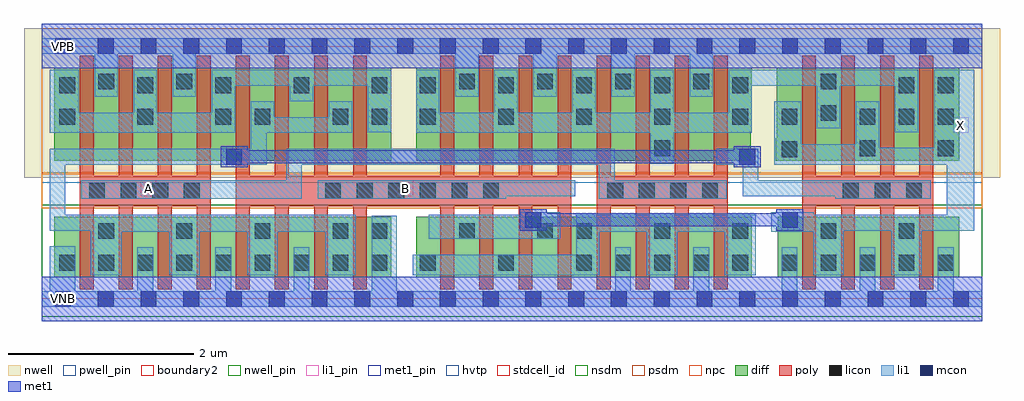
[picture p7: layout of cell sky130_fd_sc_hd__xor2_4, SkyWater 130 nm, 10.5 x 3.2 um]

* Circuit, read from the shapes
.subckt sky130_fd_sc_hd__xor2_4 A B VGND VNB VPB VPWR X
XM1 n1 A VGND VNB sky130_fd_pr__nfet_01v8 w=0.65 l=0.15 m=4
XM2 n1 B VGND VNB sky130_fd_pr__nfet_01v8 w=0.65 l=0.15 m=4
XM3 X B n2 VNB sky130_fd_pr__nfet_01v8 w=0.65 l=0.15 m=4
XM4 VGND A n2 VNB sky130_fd_pr__nfet_01v8 w=0.65 l=0.15 m=4
XM5 X n1 VGND VNB sky130_fd_pr__nfet_01v8 w=0.65 l=0.15 m=4
XM6 VPWR A n3 VPB sky130_fd_pr__pfet_01v8_hvt w=1 l=0.15 m=4
XM7 n1 B n3 VPB sky130_fd_pr__pfet_01v8_hvt w=1 l=0.15 m=4
XM8 VPWR B n4 VPB sky130_fd_pr__pfet_01v8_hvt w=1 l=0.15 m=4
XM9 VPWR A n4 VPB sky130_fd_pr__pfet_01v8_hvt w=1 l=0.15 m=4
XM10 n4 n1 X VPB sky130_fd_pr__pfet_01v8_hvt w=1 l=0.15 m=4
.ends

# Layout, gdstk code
import gdstk
lib = gdstk.Library(unit=1e-6, precision=1e-09)
def R(c, l, rs):  # rectangles x0, y0, x1, y1
    for r in rs: c.add(gdstk.rectangle(r[:2], r[2:], *l))
def A(c, l, x, y, w, h, nx, ny, dx, dy):  # array of equal rectangles
    R(c, l, [(x+i*dx, y+j*dy, x+i*dx+w, y+j*dy+h) for i in range(nx) for j in range(ny)])
def P(c, l, *ps):  # polygons
    for p in ps: c.add(gdstk.Polygon(p, *l))
nwell_pin = (64, 16)
nwell = (64, 20)
diff = (65, 20)
poly = (66, 20)
licon = (66, 44)
li1_pin = (67, 16)
li1 = (67, 20)
mcon = (67, 44)
met1_pin = (68, 16)
met1 = (68, 20)
hvtp = (78, 44)
stdcell_id = (81, 4)
nsdm = (93, 44)
psdm = (94, 20)
npc = (95, 20)
pwell_pin = (122, 16)
boundary2 = (236, 0)

sky130_fd_sc_hd__xor2_4 = lib.new_cell('sky130_fd_sc_hd__xor2_4')
R(sky130_fd_sc_hd__xor2_4, nwell_pin, [(0.145,2.635,0.315,2.805)])
R(sky130_fd_sc_hd__xor2_4, nwell, [(-0.19,1.305,10.31,2.91)])
R(sky130_fd_sc_hd__xor2_4, diff, [(0.135,0.235,3.76,0.885), (4.03,0.235,7.64,0.885), (7.92,0.235,9.87,0.885), (0.135,1.485,3.76,2.485)])
P(sky130_fd_sc_hd__xor2_4, diff, [(7.64,2.485),(4.03,2.485),(4.03,1.485),(7.63,1.485),(7.63,1.805),(7.64,1.805)],
  [(9.87,2.485),(7.91,2.485),(7.91,1.73),(7.9,1.73),(7.9,1.485),(9.87,1.485)])
P(sky130_fd_sc_hd__xor2_4, poly, [(1.82,2.615),(1.67,2.615),(1.67,1.325),(1.4,1.325),(1.4,2.615),(1.25,2.615),(1.25,1.325),(0.98,1.325),(0.98,2.615),(0.83,2.615),(0.83,1.325),(0.56,1.325),(0.56,2.615),(0.41,2.615),(0.41,0.105),(0.56,0.105),(0.56,0.995),(0.83,0.995),(0.83,0.105),(0.98,0.105),(0.98,0.995),(1.25,0.995),(1.25,0.105),(1.4,0.105),(1.4,0.995),(1.67,0.995),(1.67,0.105),(1.82,0.105)],
  [(5.7,2.615),(5.55,2.615),(5.55,1.325),(5.28,1.325),(5.28,2.615),(5.13,2.615),(5.13,1.325),(4.86,1.325),(4.86,2.615),(4.71,2.615),(4.71,1.325),(4.44,1.325),(4.44,2.615),(4.29,2.615),(4.29,1.325),(3.5,1.325),(3.5,2.615),(3.35,2.615),(3.35,1.325),(3.08,1.325),(3.08,2.615),(2.93,2.615),(2.93,1.325),(2.66,1.325),(2.66,2.615),(2.51,2.615),(2.51,1.325),(2.24,1.325),(2.24,2.615),(2.09,2.615),(2.09,0.105),(2.24,0.105),(2.24,0.995),(2.51,0.995),(2.51,0.105),(2.66,0.105),(2.66,0.995),(2.93,0.995),(2.93,0.105),(3.08,0.105),(3.08,0.995),(3.35,0.995),(3.35,0.105),(3.5,0.105),(3.5,0.995),(4.29,0.995),(4.29,0.105),(4.44,0.105),(4.44,0.995),(4.71,0.995),(4.71,0.105),(4.86,0.105),(4.86,0.995),(5.13,0.995),(5.13,0.105),(5.28,0.105),(5.28,0.995),(5.55,0.995),(5.55,0.105),(5.7,0.105)],
  [(7.38,2.615),(7.23,2.615),(7.23,1.325),(6.96,1.325),(6.96,2.615),(6.81,2.615),(6.81,1.325),(6.54,1.325),(6.54,2.615),(6.39,2.615),(6.39,1.325),(6.12,1.325),(6.12,2.615),(5.97,2.615),(5.97,0.105),(6.12,0.105),(6.12,0.995),(6.39,0.995),(6.39,0.105),(6.54,0.105),(6.54,0.995),(6.81,0.995),(6.81,0.105),(6.96,0.105),(6.96,0.995),(7.23,0.995),(7.23,0.105),(7.38,0.105)],
  [(9.59,2.615),(9.44,2.615),(9.44,1.325),(9.17,1.325),(9.17,2.615),(9.02,2.615),(9.02,1.325),(8.75,1.325),(8.75,2.615),(8.6,2.615),(8.6,1.325),(8.33,1.325),(8.33,2.615),(8.18,2.615),(8.18,0.105),(8.33,0.105),(8.33,0.995),(8.6,0.995),(8.6,0.105),(8.75,0.105),(8.75,0.995),(9.02,0.995),(9.02,0.105),(9.17,0.105),(9.17,0.995),(9.44,0.995),(9.44,0.105),(9.59,0.105)])
A(sky130_fd_sc_hd__xor2_4, licon, 0.19, 0.305, 0.17, 0.17, 9, 1, 0.42, 0)
A(sky130_fd_sc_hd__xor2_4, licon, 4.07, 0.305, 0.17, 0.17, 3, 1, 0.84, 0)
A(sky130_fd_sc_hd__xor2_4, licon, 6.17, 0.305, 0.17, 0.17, 4, 1, 0.42, 0)
A(sky130_fd_sc_hd__xor2_4, licon, 7.96, 0.305, 0.17, 0.17, 5, 1, 0.42, 0)
A(sky130_fd_sc_hd__xor2_4, licon, 0.61, 0.645, 0.17, 0.17, 4, 1, 0.84, 0)
A(sky130_fd_sc_hd__xor2_4, licon, 5.75, 0.645, 0.17, 0.17, 3, 1, 0.84, 0)
A(sky130_fd_sc_hd__xor2_4, licon, 0.51, 1.075, 0.17, 0.17, 4, 1, 0.34, 0)
A(sky130_fd_sc_hd__xor2_4, licon, 3.05, 1.075, 0.17, 0.17, 6, 1, 0.34, 0)
A(sky130_fd_sc_hd__xor2_4, licon, 6.085, 1.075, 0.17, 0.17, 4, 1, 0.34, 0)
A(sky130_fd_sc_hd__xor2_4, licon, 8.62, 1.075, 0.17, 0.17, 3, 1, 0.34, 0)
A(sky130_fd_sc_hd__xor2_4, licon, 0.19, 1.875, 0.17, 0.17, 3, 1, 0.84, 0)
A(sky130_fd_sc_hd__xor2_4, licon, 4.07, 1.875, 0.17, 0.17, 5, 2, 0.84, 0.34)
A(sky130_fd_sc_hd__xor2_4, licon, 8.8, 1.875, 0.17, 0.17, 3, 1, 0.42, 0)
A(sky130_fd_sc_hd__xor2_4, licon, 0.19, 2.215, 0.17, 0.17, 5, 1, 0.84, 0)
A(sky130_fd_sc_hd__xor2_4, licon, 4.49, 2.255, 0.17, 0.17, 4, 1, 0.84, 0)
R(sky130_fd_sc_hd__xor2_4, licon, [(3.55,0.645,3.72,0.815), (4.49,0.645,4.66,0.815), (5.33,0.645,5.5,0.815), (8.38,0.645,8.55,0.815), (9.22,0.645,9.39,0.815), (7.96,1.525,8.13,1.695), (6.59,1.535,6.76,1.705), (8.8,1.535,8.97,1.705), (9.64,1.535,9.81,1.705), (2.29,1.875,2.46,2.045), (3.13,1.875,3.3,2.045), (3.55,1.875,3.72,2.045), (7.96,1.875,8.13,2.045), (8.38,1.915,8.55,2.085), (9.22,2.215,9.39,2.385), (9.64,2.215,9.81,2.385), (0.61,2.255,0.78,2.425), (1.45,2.255,1.62,2.425), (8.38,2.255,8.55,2.425)])
R(sky130_fd_sc_hd__xor2_4, li1_pin, [(1.065,1.105,1.235,1.275), (3.825,1.105,3.995,1.275), (9.805,1.785,9.975,1.955)])
P(sky130_fd_sc_hd__xor2_4, li1, [(3.76,2.465),(1.83,2.465),(1.83,2.005),(1.24,2.005),(1.24,2.465),(0.99,2.465),(0.99,2.005),(0.4,2.005),(0.4,2.465),(0.085,2.465),(0.085,1.785),(2.08,1.785),(2.08,2.295),(2.67,2.295),(2.67,2.125),(2.92,2.125),(2.92,2.295),(3.51,2.295),(3.51,1.795),(3.76,1.795)],
  [(5.58,0.935),(5.15,0.935),(5.15,0.905),(4.165,0.905),(4.165,0.645),(5.58,0.645)],
  [(10.12,2.805),(0,2.805),(0,2.635),(0.57,2.635),(0.57,2.175),(0.82,2.175),(0.82,2.635),(1.41,2.635),(1.41,2.175),(1.66,2.175),(1.66,2.635),(4.45,2.635),(4.45,2.175),(4.7,2.175),(4.7,2.635),(5.29,2.635),(5.29,2.175),(5.54,2.175),(5.54,2.635),(6.13,2.635),(6.13,2.175),(6.38,2.175),(6.38,2.635),(6.97,2.635),(6.97,2.175),(7.22,2.175),(7.22,2.635),(10.12,2.635)],
  [(5.74,1.275),(2.97,1.275),(2.97,1.075),(5,1.075),(5,1.105),(5.74,1.105)],
  [(7.37,1.275),(6.165,1.275),(6.165,1.615),(2.63,1.615),(2.63,1.275),(0.425,1.275),(0.425,1.075),(2.8,1.075),(2.8,1.445),(5.995,1.445),(5.995,1.075),(7.37,1.075)],
  [(10.035,2.465),(9.6,2.465),(9.6,1.625),(9.01,1.625),(9.01,2.125),(8.76,2.125),(8.76,1.665),(8.17,1.665),(8.17,2.125),(7.88,2.125),(7.88,1.445),(9.735,1.445),(9.735,0.905),(8.305,0.905),(8.305,0.935),(7.85,0.935),(7.85,0.725),(8.3,0.725),(8.3,0.255),(8.63,0.255),(8.63,0.735),(9.14,0.735),(9.14,0.255),(9.47,0.255),(9.47,0.735),(10.035,0.735)],
  [(9.565,1.275),(7.71,1.275),(7.71,1.615),(7.26,1.615),(7.26,1.445),(7.54,1.445),(7.54,1.105),(8.54,1.105),(8.54,1.075),(9.565,1.075)],
  [(3.38,0.905),(0.255,0.905),(0.255,1.445),(2.42,1.445),(2.42,1.785),(3.34,1.785),(3.34,2.125),(3.09,2.125),(3.09,1.955),(2.5,1.955),(2.5,2.125),(2.25,2.125),(2.25,1.615),(0.085,1.615),(0.085,0.735),(0.53,0.735),(0.53,0.255),(0.86,0.255),(0.86,0.725),(1.37,0.725),(1.37,0.255),(1.7,0.255),(1.7,0.725),(2.21,0.725),(2.21,0.255),(2.54,0.255),(2.54,0.725),(3.05,0.725),(3.05,0.255),(3.38,0.255)],
  [(7.68,0.905),(5.75,0.905),(5.75,0.475),(3.99,0.475),(3.99,0.255),(6,0.255),(6,0.725),(6.51,0.725),(6.51,0.255),(6.84,0.255),(6.84,0.725),(7.35,0.725),(7.35,0.255),(7.68,0.255)],
  [(9.43,2.465),(7.39,2.465),(7.39,2.005),(6.8,2.005),(6.8,2.465),(6.55,2.465),(6.55,2.005),(5.96,2.005),(5.96,2.465),(5.71,2.465),(5.71,2.005),(5.12,2.005),(5.12,2.465),(4.87,2.465),(4.87,2.005),(4.28,2.005),(4.28,2.465),(4.03,2.465),(4.03,1.785),(6.55,1.785),(6.55,1.455),(6.8,1.455),(6.8,1.785),(7.64,1.785),(7.64,2.295),(8.34,2.295),(8.34,1.835),(8.59,1.835),(8.59,2.295),(9.18,2.295),(9.18,1.795),(9.43,1.795)],
  [(10.12,0.085),(9.81,0.085),(9.81,0.555),(9.64,0.555),(9.64,0.085),(8.97,0.085),(8.97,0.555),(8.8,0.555),(8.8,0.085),(8.13,0.085),(8.13,0.555),(7.96,0.555),(7.96,0.085),(7.18,0.085),(7.18,0.555),(7.01,0.555),(7.01,0.085),(6.34,0.085),(6.34,0.555),(6.17,0.555),(6.17,0.085),(3.82,0.085),(3.82,0.895),(3.55,0.895),(3.55,0.085),(2.88,0.085),(2.88,0.555),(2.71,0.555),(2.71,0.085),(2.04,0.085),(2.04,0.555),(1.87,0.555),(1.87,0.085),(1.2,0.085),(1.2,0.555),(1.03,0.555),(1.03,0.085),(0.36,0.085),(0.36,0.565),(0.085,0.565),(0.085,0.085),(0,0.085),(0,-0.085),(10.12,-0.085)])
A(sky130_fd_sc_hd__xor2_4, mcon, 0.145, -0.085, 0.17, 0.17, 22, 2, 0.46, 2.72)
R(sky130_fd_sc_hd__xor2_4, mcon, [(5.205,0.765,5.375,0.935), (7.965,0.765,8.135,0.935), (1.985,1.445,2.155,1.615), (7.505,1.445,7.675,1.615)])
R(sky130_fd_sc_hd__xor2_4, met1_pin, [(0.145,-0.085,0.315,0.085), (0.145,2.635,0.315,2.805)])
P(sky130_fd_sc_hd__xor2_4, met1, [(7.735,1.645),(7.445,1.645),(7.445,1.6),(2.215,1.6),(2.215,1.645),(1.925,1.645),(1.925,1.415),(2.215,1.415),(2.215,1.46),(7.445,1.46),(7.445,1.415),(7.735,1.415)],
  [(8.195,0.965),(7.905,0.965),(7.905,0.92),(5.435,0.92),(5.435,0.965),(5.145,0.965),(5.145,0.735),(5.435,0.735),(5.435,0.78),(7.905,0.78),(7.905,0.735),(8.195,0.735)])
R(sky130_fd_sc_hd__xor2_4, hvtp, [(0,1.25,10.12,2.72)])
R(sky130_fd_sc_hd__xor2_4, stdcell_id, [(0,0,10.12,2.72)])
R(sky130_fd_sc_hd__xor2_4, nsdm, [(0,-0.19,10.12,1.015)])
R(sky130_fd_sc_hd__xor2_4, psdm, [(0,1.355,10.12,2.91)])
R(sky130_fd_sc_hd__xor2_4, npc, [(0,0.975,10.12,1.345)])
R(sky130_fd_sc_hd__xor2_4, pwell_pin, [(0.145,-0.085,0.315,0.085)])
R(sky130_fd_sc_hd__xor2_4, boundary2, [(0,0,10.12,2.72)])
sky130_fd_sc_hd__xor2_4.add(gdstk.FlexPath([(0,2.72),(10.12,2.72)], 0.48, ends="flush", simple_path=True, layer=68, datatype=20))  # met1
sky130_fd_sc_hd__xor2_4.add(gdstk.FlexPath([(0,0),(10.12,0)], 0.48, ends="flush", simple_path=True, layer=68, datatype=20))  # met1
sky130_fd_sc_hd__xor2_4.add(gdstk.Label('X', (9.89,1.87), layer=67, texttype=5))
sky130_fd_sc_hd__xor2_4.add(gdstk.Label('B', (3.91,1.19), layer=67, texttype=5))
sky130_fd_sc_hd__xor2_4.add(gdstk.Label('A', (1.15,1.19), layer=67, texttype=5))
sky130_fd_sc_hd__xor2_4.add(gdstk.Label('VNB', (0.23,0), layer=64, texttype=59))
sky130_fd_sc_hd__xor2_4.add(gdstk.Label('VPB', (0.23,2.72), layer=64, texttype=5))
sky130_fd_sc_hd__xor2_4.add(gdstk.Label('VGND', (0.23,0), layer=68, texttype=5))
sky130_fd_sc_hd__xor2_4.add(gdstk.Label('VPWR', (0.23,2.72), layer=68, texttype=5))
sky130_fd_sc_hd__xor2_4.add(gdstk.Label('xor2_4', (0,0), layer=83, texttype=44))

lib.write_gds('sky130_fd_sc_hd__xor2_4.gds')
